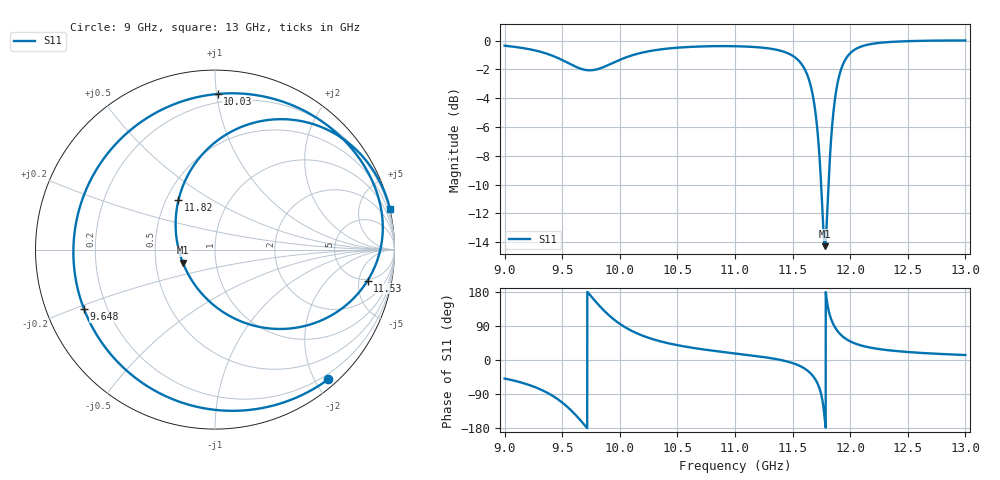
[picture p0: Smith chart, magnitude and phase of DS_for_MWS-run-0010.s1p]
! TOUCHSTONE file generated by CST DESIGN STUDIO
! Date and time: Tue Feb  4 16:19:33 2025
! Project name: C:\Work\MatlabApps\UnitCellOptimizationMatlab\CST\unitcell.cst
! Tree item: Tasks\Sweep1\SPara1\S-Parameters
! Header version: 2024
! Port assignment regex: !\s*Touchstone port\s*([0-9]+)\s*=\s*(CST MWS port|CST DES external port|CST DES block port)\s*(.+)\s* \(\"(.*)\"\)(\s*mode\s*([0-9]+))?.*
! Touchstone port assignment:
! Touchstone port 1 = CST DES external port 1 ("")
# GHz S MA R 50
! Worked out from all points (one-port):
!   4001 points, 9 GHz to 13 GHz, reference 50 ohm
!   lowest |S11| = -14.3 dB at 11.78 GHz (marker M1), VSWR 1.48, Z = 34.5 - j5.21 ohm
!   |S11| at or under -10 dB: 11.75 GHz to 11.81 GHz (63.82 MHz wide, 0.542 % of centre)
!   S11 on the Smith chart (normalised r, x): 9 GHz: 0.12, -2.19; 9.648 GHz: 0.12, -0.21; 10.03 GHz: 0.14, +1.01; 11.53 GHz: 4.74, -6.61; 11.82 GHz: 0.58, +0.36; 13 GHz: -0.02, +8.70
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9  0.9596 -48.9
9.267  0.9235 -71.9
9.399  0.8907 -91.3
9.5  0.8558 -112.3
9.573  0.8273 -131.7
9.648  0.8017 -155.5
9.717  0.789 -179.8
9.786  0.7917 155.6
9.891  0.8193 122.2
10  0.8571 95.4
10.032  0.8674 89.1
10.239  0.9159 59.6
10.5  0.9444 39.1
11  0.9554 17.4
11.309  0.9369 5.0
11.5  0.8857 -8.1
11.531  0.8676 -11.5
11.628  0.7589 -27.6
11.701  0.5525 -53.0
11.741  0.3539 -82.0
11.78  0.1933 -157.9
11.816  0.3433 126.3
11.852  0.5524 95.4
11.888  0.7038 77.3
12  0.9036 49.2
12.175  0.9715 32.7
12.5  0.9949 21.1
13  1 13.1
